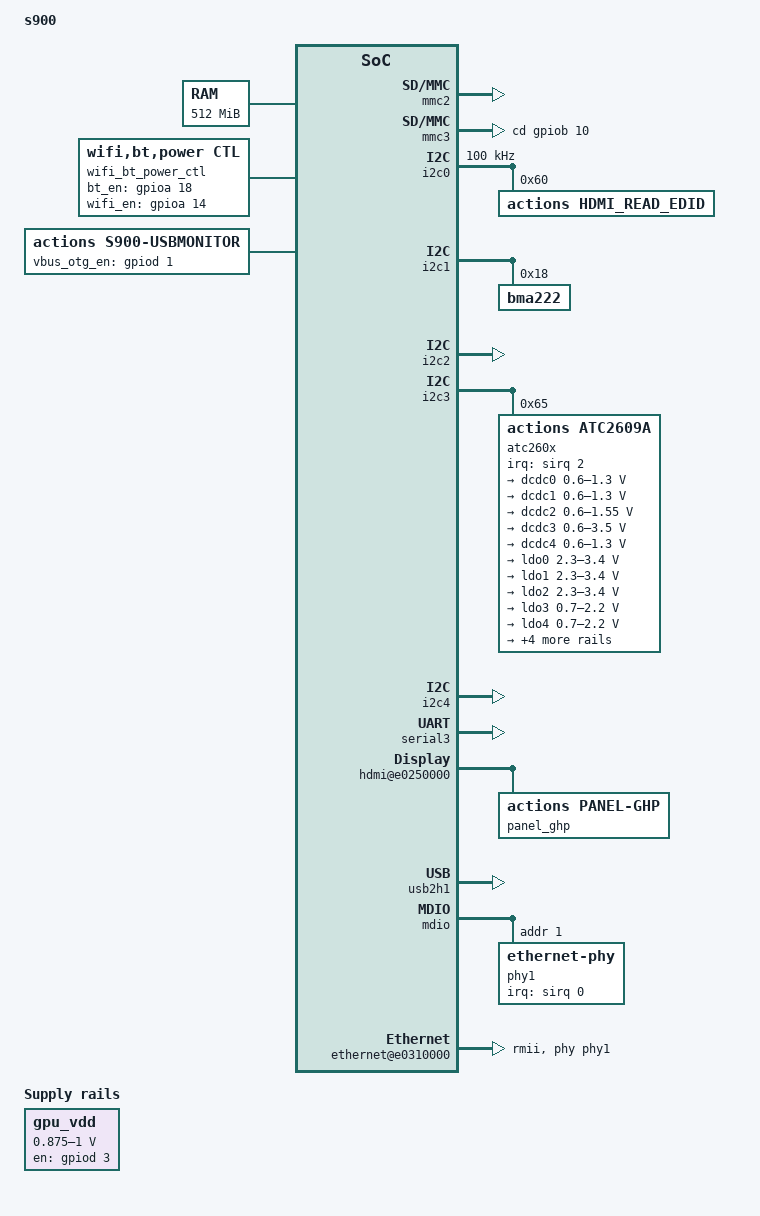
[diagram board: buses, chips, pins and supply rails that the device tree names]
/*
 * Copyright (C) 2014 Actions Semi. Inc
 *
 * This program is free software; you can redistribute it and/or
 * modify it under the terms of the GNU General Public License as
 * published by the Free Software Foundation version 2.
 *
 * This program is distributed "as is" WITHOUT ANY WARRANTY of any
 * kind, whether express or implied; without even the implied warranty
 * of MERCHANTABILITY or FITNESS FOR A PARTICULAR PURPOSE.  See the
 * GNU General Public License for more details.
 */

/dts-v1/;

/* reserve 48MB for logo(fb) */
/memreserve/ 0x19000000 0x03000000;

/* reserve 512MB for ion1(pmem) */
/memreserve/ 0x20000000 0x20000000;

/* reserve 4k for afinfo */
/memreserve/ 0x18FFF000 0x1000;

#include "s900.dtsi"

/ {
	model = "s900";
	compatible = "actions,s900", "actions,s900-evb";

	chosen {
		bootargs="fb_logo_reserve=0x19000000,0x03000000 console=ttyS5,115200 earlyprintk=serial-owl,0xe012a000 no_console_suspend afinfo=0x18fff000,0x1000  loglevel=4";
	};

	memory@00000000 {
		device_type = "memory";
		reg = <0 0x00000000 0 0x20000000>;
	};

	ion_config {
		compatible = "actions,s900-ion";
		actions,ion_heap_pmem_base = <0x0 0x20000000>;
		actions,ion_heap_pmem_size = <0x0 0x20000000>;
	};

	gpiod: gpiod@e01b0000 {
		pinctrl-names = "default";
		pinctrl-0 = <&pinctrl_gpio_lvds_o>;
	};

	pinctrl@e01b0000 {
		pinctrl_i2c4: i2c4 {
			i2c4_mfp {
				actions,groups = "mfp3_8";
				actions,function = "i2c4";
			};

			i2c4_pull {
				actions,pins = "P_UART4_RX", "P_UART4_TX";
				actions,pull = <2>;
			};
		};
		
		ethernet_state_default: ethernet_default {
			ethernet_smi { /* pins: MDC & MDIO */
				actions,groups = "mfp0_21_20_eth_mdc", "mfp0_21_20_eth_mdio";
				actions,function = "eth_rmii";
			};

			ethernet_rmii_txd01 {
				actions,groups = "mfp0_18_16_eth_txd0", "mfp0_18_16_eth_txd1";
				actions,function = "eth_rmii";
			};

			ethernet_rmii_txen_rxer {
				actions,groups = "mfp0_15_13_eth_txen", "mfp0_15_13_eth_rxer";
				actions,function = "eth_rmii";
			};
			
			ethernet_rmii_crs_dv {
				actions,groups = "mfp0_12_11";
				actions,function = "eth_rmii";
			};

			ethernet_rmii_rxd10 {
				actions,groups = "mfp0_10_8_eth_rxd1", "mfp0_10_8_eth_rxd0";
				actions,function = "eth_rmii";
			};

			ethernet_rmii_ref_clk {
				actions,groups = "mfp0_7_6";
				actions,function = "eth_rmii";
			};
		};
	};

	mmc0: mmc@e0338000 {
		status = "disabled";
	};

	mmc1: mmc@e033c000 {
		status = "disabled";
	};

	mmc2: mmc@e0334000 {
		card-type = "wifi";
		wifi-card-voltage = "1.8v";  /* only: "1.8v", "3.1v" */
		status = "okay";
	};

	mmc3: mmc@e0330000 {
		card-type = "memory";  /* only: "memory", "wifi", or "emmc" */
		card-detect-mode = "gpio";  /* only: "sirq", "gpio", or "command" */
		cd-gpios = <&gpiob 10 0>; /* GPIOB10 */
		sd_vcc = "ldo0";
		status = "okay";
	};

	i2c0: i2c@e0170000 {
		clock-frequency = <100000>;
		status = "okay";
		hdmi_read_edid@60 {
			compatible = "actions,hdmi_read_edid";
			reg = <0x60>;
		};
	};

	i2c1: i2c@e0172000 {
		status = "okay";
		bma222@18 {
			compatible = "bma222";
			reg = <0x18>;
			position = "-1";
			calibration = <0 0 0>;
		};
	};

	i2c2: i2c@e0174000 {
		status = "okay";
	};

	i2c3: i2c@e0176000 {
		status = "okay";
		/* atc2609a (5303) */
		atc260x: atc2609a@65 {
			compatible = "actions,atc2609a","actions,atc260x";
			reg = <0x65>;
			interrupt-parent = <&sirq>;
			interrupts = <2>;
			interrupt-controller;
			#interrupt-cells = <1>;

			losc_32k_output_enable = <1>;    /* enable/disable output 32.768K clock via AUXIN1 pin */

			pm {
				compatible = "actions,atc2609a-pm";
			};

			onoff {
				compatible = "actions,atc2609a-onoff";
			};

			rtc{
				compatible = "actions,atc2609a-rtc";
			};

			atc260x_gpio{
				compatible = "actions,atc2609a-gpio";
			};

			irkeypad {
				compatible = "actions,atc2609a-ir";
				interrupt-parent = <&atc260x>;
				status = "okay";
				recovery_key = <0x0dff40>;
				config {
					size = <45>;
					user_code = <0xff40>;
					protocol = <1>;
					wk_code = <0x4D>;
					period = <140>;
					ir_code  =<0x0 0x01 0x02 0x03 0x04 0x05 0x06 0x07 0x08 0x09  0x0A  0x0B  0x0C  0x0D  0x0E  0x0F  0x10 0x11  0x12 0x13 0x14 0x15  0x16 0x17 0x18 0x19 0x1A  0x1B 0x1C  0x1D 0x1E 0x1F 0x40 0x41 0x42  0x43  0x44 0x45  0x46 0x47 0x4D  0x53 0x54  0x57 0x5B>;
					key_code =<11   2   3    4    5    6    7    8    9 	 10 	 100    103  126   353   108   52    105  106    14   60   63  115    80   61   65   76   172   78   114   97   79   75   77  81   158    113  65   139   64   71   116   72   175   82   73>;
				
				};
				config-1 {
					size = <25>;
					user_code = <0x7f80>;
                			led_gpios = <&gpiob 8 0>; /*GPIOB8 0: high, 1: low*/
					protocol = <1>;
					wk_code = <0x51>;
					period = <140>;
					ir_code  =<0x51 0x4d 0xbb 0xbd 0x26 0x28 0x25 0x27 0xd 0x49 0xba 0x1b 0x44 0x31 0x32 0x33 0x34 0x35 0x36 0x37 0x38 0x39 0x30 0x4a 0x53>;
					key_code =<116  113  115  114  103  108  105  106  353 172  139  158  14   2    3    4    5    6    7    8    9    10   11   175  139>;
					led_blink = <1>;
				};

				config-2 {
					size = <25>;
					user_code = <0x4040>;
					protocol = <1>;
					wk_code = <0x4d>;
					period = <140>;
					ir_code  =<77 67 21 28 11 14 16 17 13 26 69 66 12 1 2 3 4 5 6 7 8 9 0 68 83>;
					key_code =<116 113 115 114 103 108 105 106 353 172 139 158 14 2 3 4 5 6 7 8 9 10 11 175 60>;
				};
			};

			/*the cfg params must be read	in the first installed ko,
			 now snd-soc-atv5302.ko is first installed.
			 1, earphone_detect_level use the third value of earphone_gpios
			 2, commonly, we shouldn't change the value of speaker_gain and earphone_gain*/

			atc260x-audio{
				compatible = "actions,atc2609a-audio";
				status = "okay";
                                pinctrl-names = "default";
                                pinctrl-0 = <&i2s0_state_default>;
				clocks = <&clock CLK_AUDIO_PLL>, <&clock CLK_HDMI_AUDIO>;
				clock-names = "audio_pll", "hdmia";
				earphone_output_mode = <0>; /*0: direct mode, 1: undirect mode*/
				mic_num = <1>; /*just suport 1, 2*/
				mic0_gain = < 0x7 0x7 >; /*<Lchannel,Rchannel> [0x0~0xF]*/
				speaker_gain = < 0xaa 0xaa >; /*<Lchannel,Rchannel>[0x00~0xbebe]*/
				earphone_gain = < 0xbe 0xbe >; /*<Lchannel,Rchannel>[0x00~0xbebe]*/
				speaker_volume = < 0x28 0x28 >; /*volume [0x00~0x28]*/
				earphone_volume = < 0x28 0x28 >; /*volume [0x00~0x28]*/
				earphone_detect_mode = <0>;  /*0: polling,   1: interrupt*/
			};

			atc260x-hwmon{
				compatible = "actions,atc2609a-hwmon";
			};

			atc260x-charger{
				compatible = "actions,atc2609a-charger";
				rsense = <20>;/*unit:mohm*/
				bat_type = <1>;/*0:4.18v; 1:4.2v; 2:4.3v; 3:4.35v*/
				bl_on_current_usb_pc = <300>;
				bl_off_current_usb_pc = <500>;
				bl_on_current_usb_adp = <300>;
				bl_off_current_usb_adp = <800>;
				bl_on_current_wall_adp = <300>;
				bl_off_current_wall_adp = <1500>;
				support_adaptor_type = <3>; /*1: DCIN  2: USB  3:DCIN+USB*/
				ext_charger = <0>;
				usb_adapter_as_ac = <1>;/*0:usb ada keep itself; 1:usb ada used as DCIN when usb plug and batv<3.3v during minicharge*/
				usb_pc_ctl_mode = <1>; /*0:disable vbus ctl;1:current limited;2:voltage limited*/
			};


			/* DCDC0       VDD_CORE
			 * DCDC1       VDD_CPU
			 * DCDC2       VDDR
			 * DCDC3       VCC
			 * DCDC4       VDD_CPUM
			 */
			dcdc0: dcdc0 {
				compatible = "actions,atc2609a-dcdc0","actions,atc2609a-dcdc";
				regulator-name = "dcdc0";
				regulator-min-microvolt = <600000>;
				regulator-max-microvolt = <1300000>;
				regulator-always-on;
			};

			dcdc1: dcdc1 {
				compatible = "actions,atc2609a-dcdc1","actions,atc2609a-dcdc";
				regulator-name = "dcdc1";
				regulator-min-microvolt = <600000>;
				regulator-max-microvolt = <1300000>;
				regulator-always-on;
			};

			dcdc2: dcdc2 {
				compatible = "actions,atc2609a-dcdc2","actions,atc2609a-dcdc";
				regulator-name = "dcdc2";
				regulator-min-microvolt = <600000>;
				regulator-max-microvolt = <1550000>;
				regulator-always-on;
			};

			dcdc3: dcdc3 {
				compatible = "actions,atc2609a-dcdc3","actions,atc2609a-dcdc";
				regulator-name = "dcdc3";
				regulator-min-microvolt = <600000>;
				regulator-max-microvolt = <3500000>;
				regulator-always-on;
			};

			dcdc4: dcdc4 {
				compatible = "actions,atc2609a-dcdc4","actions,atc2609a-dcdc";
				regulator-name = "dcdc4";
				regulator-min-microvolt = <600000>;
				regulator-max-microvolt = <1300000>;
				regulator-always-on;
			};

			/* LDO0        SD_VCC     
			 * LDO1        WIFI_3V3  
			 * LDO2        AVCC       
			 * LDO3        ATC2609_VDD   
			 * LDO4        AVCC_1V8   
			 * LDO6        AVDD_1V0   
			 * LDO7        UNUSED  
			 * LDO8        ETHERNET_3V3     
			 * LDO9        RTC_VDD     */

			ldo0: ldo0{
				compatible = "actions,atc2609a-ldo0","actions,atc2609a-ldo";
				regulator-name = "ldo0";
				regulator-min-microvolt  = <2300000>;
				regulator-max-microvolt = <3400000>;
				regulator-always-on;
			};

			ldo1: ldo1{
				compatible = "actions,atc2609a-ldo1","actions,atc2609a-ldo";
				regulator-name = "ldo1";
				regulator-min-microvolt  = <2300000>;
				regulator-max-microvolt = <3400000>;
			};

			ldo2: ldo2{
				compatible = "actions,atc2609a-ldo2","actions,atc2609a-ldo";
				regulator-name = "ldo2";
				regulator-min-microvolt  = <2300000>;
				regulator-max-microvolt = <3400000>;
				regulator-always-on;
			};

			ldo3: ldo3{
				compatible = "actions,atc2609a-ldo3","actions,atc2609a-ldo";
				regulator-name = "ldo3";
				regulator-min-microvolt  = <700000>;
				regulator-max-microvolt = <2200000>;
				regulator-always-on;
			};

			ldo4: ldo4{
				compatible = "actions,atc2609a-ldo4","actions,atc2609a-ldo";
				regulator-name = "ldo4";
				regulator-min-microvolt  = <700000>;
				regulator-max-microvolt = <2200000>;
				regulator-always-on;
			};

			ldo6: ldo6{
				compatible = "actions,atc2609a-ldo6","actions,atc2609a-ldo";
				regulator-name = "ldo6";
				regulator-min-microvolt  = <850000>;
				regulator-max-microvolt = <2200000>;
				regulator-always-on;
			};

			ldo7: ldo7{
				compatible = "actions,atc2609a-ldo7","actions,atc2609a-ldo";
				regulator-name = "ldo7";
				regulator-min-microvolt  = <700000>;
				regulator-max-microvolt = <2200000>;
			};

			ldo8: ldo8{
				compatible = "actions,atc2609a-ldo8","actions,atc2609a-ldo";
				regulator-name = "ldo8";
				regulator-min-microvolt  = <2100000>;
				regulator-max-microvolt = <3300000>;
			};

			ldo9: ldo9{
				compatible = "actions,atc2609a-ldo9","actions,atc2609a-ldo";
				regulator-name = "ldo9";
				regulator-min-microvolt  = <2600000>;
				regulator-max-microvolt = <3300000>;
				regulator-always-on;
			};
		};
	};

	i2c4: i2c@e0178000 {
		pinctrl-names = "default";
		pinctrl-0 = <&pinctrl_i2c4>;
		status = "okay";
	};

	serial3: uart@e0126000 {
		dmas = <&dma DMA_DRQ_UART3_TX>, <&dma DMA_DRQ_UART3_RX>;
		dma-names = "tx", "rx";
		status = "okay";
	};

	isp0: isp@e0270000 {
		status = "disabled";
	};

	framebuffer {
		compatible = "actions,framebuffer";

		ovl_boot {
		        usage = "boot";
		        disp_dev = <&panel_ghp>;
		};

		ovl_extra {
		        usage = "extra";
		};
	};

	edp: edp@e02e0000 {
	   status = "disabled";
	};
	
	wifi_bt_power_ctl {
		compatible = "wifi,bt,power,ctl";
		reg_wl_bt_power_en = "ldo1";
		bt_en_gpios = <&gpioa 18 0>; /*GPIOA18, high active*/
		wifi_en_gpios = <&gpioa 14 0>; /* GPIOa14*/
	};

	hdmi@e0250000 {
		tmds-avdd-supply = <&ldo4>;

		hdcp_onoff = <0>;
		channel_invert = <0>;
		bit_invert = <0>;

		panel_ghp: hdmi_panel {
			compatible = "actions,panel-ghp";

			is_primary = <1>;

			draw_width = <1920>;
			draw_height = <1080>;
		};
	};

	monitor {
		compatible = "actions,s900-usbmonitor";
		detect_type = <3>; /* config what to detect, 0:DISABLE ; 1:DEVICE_ONLY; 2:HOST_ONLY; 3: HOST_AND_DEVICE*/
		idpin_type   = <0>; /* 0:use ic's idpin;      1:soft idpin,##no support!##;       2:gpio idpin,use gpio to detect,need to add a "idpin_gpio" configuration */
		vbus_type   = <2>; /* 0:use ic's vbuspin; 1:gpio vbus,##no support!## ;      2:use dc5v to detect vbus level*/
		force_detect = <33>; /*11: force b_in; 22 force b_out,33:force a_in,44:force a_out*/

		/*vbus_otg_en_gpio is use to turn on/off otg vbus,it's different from vbus detect gpio;*/
		vbus_otg_en_gpios = <&gpiod 1 0>;  /* GPIOD1,  0: low active; 1: high active */
		status = "okay";
	};

	owl_usb_config {
		compatible = "actions,owl-usb-config";
		usb_serialnumber_config = <1>; /* config serialnumber string format, 0: fixed serial no in ascii format; 1: fixed serial no in unicode format; 2:non-fixed serial no in unicode format*/
		usb_hs_output_strength = <3>; /*defaut:3,range:0~7; 0:min,7:max;usb high speed(2.0)transmitter output strength*/
		status = "okay";
	};

 	usb2h0: usb@e02b0000 {
		status = "disabled";
	};

	usb2h1: usb@e02c0000 {
		port_host_plug_detect = <2>; /*0:disable 1:enable and vbus contrl 2:only detect*/
		status = "okay";
	};

	gpu_vdd: gpio-regulator {
	   compatible = "regulator-gpio";

	   regulator-name = "gpu-gpio-supply";
	   regulator-type = "voltage";
	   regulator-min-microvolt = <875000>;
	   regulator-max-microvolt = <1000000>;

	   enable-gpio = <&gpiod 3 0x4>;
	   gpios = <&gpioa 20 0x4>;
	   states = <875000 0x1
	   	     1000000 0x0>;

	   startup-delay-us = <20000>;
	   enable-active-high;
	};
	gpu@e0600000 {
		gpu-supply = <&gpu_vdd>;

		operating-points = <352000  875000
		                    528000 1000000>;
	};
	
	mdio:mdio@e0310000 {
		phy-power-gpios = "ldo8";
		phy-green-gpios = <&gpiob 25 1>;
		phy_addr = "3";
		status = "okay";

		phy1: ethernet-phy@1 {
			reg = <1>;
			interrupt-parent = <&sirq>;
			interrupts = < 0 >;
		};
	};
	
	ethernet@e0310000 {
		address-bits = <48>;
		local-mac-address = [ 00 18 fe 66 66 66 ];
		max-frame-size = <1518>;
		phy-mode = "rmii";
		phy-handle = <&phy1>;

		status = "okay";
	};
	
};
